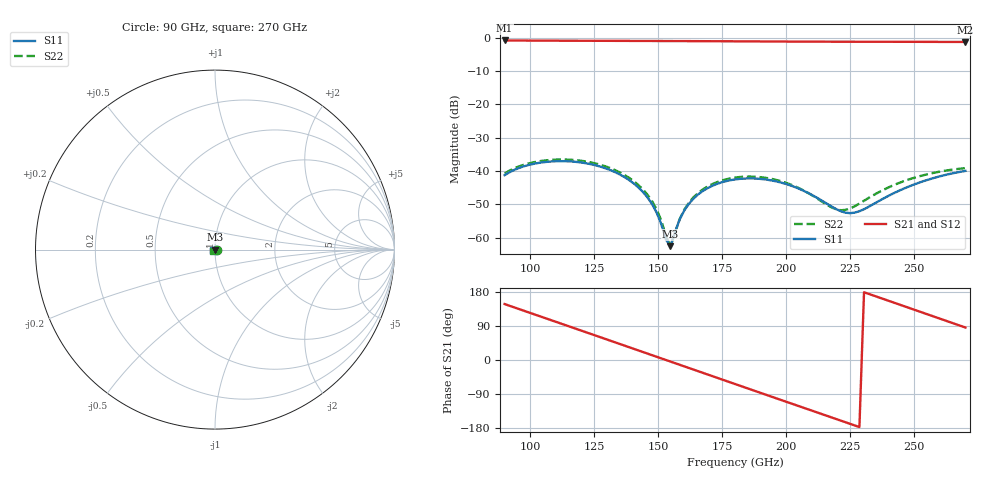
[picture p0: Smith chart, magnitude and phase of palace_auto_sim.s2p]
#  GHZ S DB R 50
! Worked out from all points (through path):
!   101 points, 90 GHz to 270 GHz, reference 50 ohm
!   highest |S21| = -0.76 dB at 90 GHz (marker M1); lowest = -1.2 dB at 270 GHz (marker M2)
!   group delay of S21, straight-line fit = 6.51 ps
!   lowest |S11| = -62.6 dB at 154.8 GHz (marker M3), VSWR 1.00, Z = 50 - j0.0728 ohm
!   |S11| at or under -10 dB: start of sweep to end of sweep
!   |S22| runs from -62.6 to -36.5 dB; largest |S21 - S12| = 1e-13
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90  -41.25 -19.7  -0.76 147.6  -0.76 147.6  -40.75 -20.9
106.2  -37.26 -55.7  -0.82 109.7  -0.82 109.7  -36.79 -56.8
120.6  -37.51 -89.5  -0.85 76.1  -0.85 76.1  -36.99 -90.6
129.6  -39.23 -111.8  -0.87 55.0  -0.87 55.0  -38.65 -112.8
140.4  -43.71 -138.1  -0.90 29.6  -0.90 29.6  -43.03 -139.1
147.6  -49.92 -151.4  -0.92 12.7  -0.92 12.7  -49.07 -152.7
151.2  -55.96 -147.8  -0.93 4.3  -0.93 4.3  -54.89 -150.7
153  -60.61 -129.6  -0.93 0.0  -0.93 0.0  -59.49 -135.9
154.8  -62.59 -78.7  -0.94 -4.2  -0.94 -4.2  -62.58 -87.3
158.4  -54.52 -37.4  -0.95 -12.6  -0.95 -12.6  -54.44 -38.0
163.8  -48.28 -41.6  -0.96 -25.3  -0.96 -25.3  -47.89 -41.2
171  -44.49 -59.4  -0.99 -42.2  -0.99 -42.2  -43.98 -58.6
180  -42.53 -86.0  -1.02 -63.3  -1.02 -63.3  -41.97 -84.6
194.4  -42.85 -134.1  -1.07 -97.1  -1.07 -97.1  -42.38 -131.5
201.6  -44.32 -161.1  -1.10 -113.9  -1.10 -113.9  -44.02 -158.2
210.6  -47.42 159.9  -1.12 -134.9  -1.12 -134.9  -47.53 161.2
219.6  -51.47 105.6  -1.14 -155.9  -1.14 -155.9  -51.53 97.4
225  -52.67 60.4  -1.14 -168.6  -1.14 -168.6  -51.24 48.5
232.2  -50.75 4.0  -1.15 174.6  -1.15 174.6  -48.10 0.2
241.2  -46.98 -43.9  -1.16 153.4  -1.16 153.4  -44.50 -40.0
255.6  -42.56 -101.4  -1.18 119.6  -1.18 119.6  -40.89 -92.9
270  -39.97 -153.9  -1.22 85.7  -1.22 85.7  -39.14 -144.7
